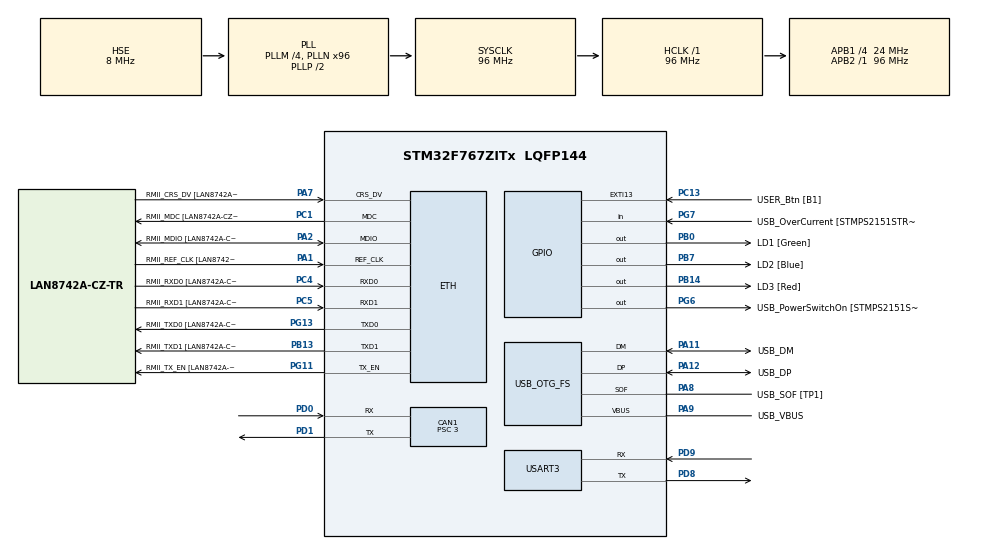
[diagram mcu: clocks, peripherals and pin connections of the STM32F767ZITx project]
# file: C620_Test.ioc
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CAN1.ABOM=ENABLE
CAN1.AWUM=DISABLE
CAN1.BS1=CAN_BS1_3TQ
CAN1.BS2=CAN_BS2_4TQ
CAN1.CalculateBaudRate=1000000
CAN1.CalculateTimeBit=1000
CAN1.CalculateTimeQuantum=125.0
CAN1.NART=DISABLE
CAN1.Prescaler=3
Dma.Request0=USART3_TX
Dma.USART3_TX.0.Direction=DMA_MEMORY_TO_PERIPH
Dma.USART3_TX.0.FIFOMode=DMA_FIFOMODE_DISABLE
Dma.USART3_TX.0.Instance=DMA1_Stream3
Dma.USART3_TX.0.MemDataAlignment=DMA_MDATAALIGN_BYTE
Dma.USART3_TX.0.MemInc=DMA_MINC_ENABLE
Dma.USART3_TX.0.Mode=DMA_CIRCULAR
Dma.USART3_TX.0.PeriphDataAlignment=DMA_PDATAALIGN_BYTE
Dma.USART3_TX.0.PeriphInc=DMA_PINC_DISABLE
Dma.USART3_TX.0.Priority=DMA_PRIORITY_LOW
ETH.MediaInterface=HAL_ETH_RMII_MODE
ETH.PHY_Name=LAN8742A_PHY_ADDRESS
ETH.PHY_Value=0
ETH.PhyAddress=0
FREERTOS.Tasks01=defaultTask,24,512,StartDefaultTask,Default,NULL,Static,defaultTaskBuffer,defaultTaskControlBlock
FREERTOS.Timers01=myTimer01,Callback01,osTimerPeriodic,Default,NULL,Static,myTimer01ControlBlock
Mcu.Family=STM32F7
Mcu.Name=STM32F767ZITx
Mcu.Package=LQFP144
NVIC.CAN1_RX0_IRQn=true\:5\:0\:false\:false\:true\:true\:true\:true\:true
NVIC.CAN1_RX1_IRQn=true\:5\:0\:false\:false\:true\:true\:true\:true\:true
NVIC.CAN1_TX_IRQn=true\:5\:0\:false\:false\:true\:true\:true\:true\:true
NVIC.DMA1_Stream3_IRQn=true\:5\:0\:false\:false\:true\:true\:false\:true\:true
NVIC.PriorityGroup=NVIC_PRIORITYGROUP_4
NVIC.USART3_IRQn=true\:5\:0\:false\:false\:true\:true\:true\:true\:true
PA1.GPIO_Label=RMII_REF_CLK [LAN8742A-CZ-TR_REFCLK0]
PA1.Mode=RMII
PA1.Signal=ETH_REF_CLK
PA10.GPIO_Label=USB_ID
PA10.Signal=USB_OTG_FS_ID
PA11.GPIO_Label=USB_DM
PA11.Mode=Device_Only
PA11.Signal=USB_OTG_FS_DM
PA12.GPIO_Label=USB_DP
PA12.Mode=Device_Only
PA12.Signal=USB_OTG_FS_DP
PA13.GPIO_Label=TMS
PA13.Mode=Serial_Wire
PA13.Signal=SYS_JTMS-SWDIO
PA14.GPIO_Label=TCK
PA14.Mode=Serial_Wire
PA14.Signal=SYS_JTCK-SWCLK
PA2.GPIO_Label=RMII_MDIO [LAN8742A-CZ-TR_MDIO]
PA2.Mode=RMII
PA2.Signal=ETH_MDIO
PA7.GPIO_Label=RMII_CRS_DV [LAN8742A-CZ-TR_CRS_DV]
PA7.Mode=RMII
PA7.Signal=ETH_CRS_DV
PA8.GPIO_Label=USB_SOF [TP1]
PA8.Mode=Activate_SOF_FS
PA8.Signal=USB_OTG_FS_SOF
PA9.GPIO_Label=USB_VBUS
PA9.Mode=Activate_VBUS
PA9.Signal=USB_OTG_FS_VBUS
PB0.GPIO_Label=LD1 [Green]
PB0.Signal=GPIO_Output
PB13.GPIO_Label=RMII_TXD1 [LAN8742A-CZ-TR_TXD1]
PB13.Mode=RMII
PB13.Signal=ETH_TXD1
PB14.GPIO_Label=LD3 [Red]
PB14.Signal=GPIO_Output
PB3.GPIO_Label=SWO
PB3.Signal=SYS_JTDO-SWO
PB7.GPIO_Label=LD2 [Blue]
PB7.Signal=GPIO_Output
PC1.GPIO_Label=RMII_MDC [LAN8742A-CZ-TR_MDC]
PC1.Mode=RMII
PC1.Signal=ETH_MDC
PC13.GPIO_Label=USER_Btn [B1]
PC13.Signal=GPXTI13
PC14/OSC32_IN.Mode=LSE-External-Oscillator
PC14/OSC32_IN.Signal=RCC_OSC32_IN
PC15/OSC32_OUT.Mode=LSE-External-Oscillator
PC15/OSC32_OUT.Signal=RCC_OSC32_OUT
PC4.GPIO_Label=RMII_RXD0 [LAN8742A-CZ-TR_RXD0]
PC4.Mode=RMII
PC4.Signal=ETH_RXD0
PC5.GPIO_Label=RMII_RXD1 [LAN8742A-CZ-TR_RXD1]
PC5.Mode=RMII
PC5.Signal=ETH_RXD1
PD0.GPIO_PuPd=GPIO_NOPULL
PD0.GPIO_Speed=GPIO_SPEED_FREQ_VERY_HIGH
PD0.Mode=CAN_Activate
PD0.Signal=CAN1_RX
PD1.GPIO_PuPd=GPIO_NOPULL
PD1.Mode=CAN_Activate
PD1.Signal=CAN1_TX
PD8.GPIO_ModeDefaultPP=GPIO_MODE_AF_PP
PD8.GPIO_PuPd=GPIO_NOPULL
PD8.GPIO_Speed=GPIO_SPEED_FREQ_VERY_HIGH
PD8.Mode=Asynchronous
PD8.Signal=USART3_TX
PD9.GPIO_ModeDefaultPP=GPIO_MODE_AF_PP
PD9.GPIO_PuPd=GPIO_NOPULL
PD9.GPIO_Speed=GPIO_SPEED_FREQ_VERY_HIGH
PD9.Mode=Asynchronous
PD9.Signal=USART3_RX
PG11.GPIO_Label=RMII_TX_EN [LAN8742A-CZ-TR_TXEN]
PG11.Mode=RMII
PG11.Signal=ETH_TX_EN
PG13.GPIO_Label=RMII_TXD0 [LAN8742A-CZ-TR_TXD0]
PG13.Mode=RMII
PG13.Signal=ETH_TXD0
PG6.GPIO_Label=USB_PowerSwitchOn [STMPS2151STR_EN]
PG6.Signal=GPIO_Output
PG7.GPIO_Label=USB_OverCurrent [STMPS2151STR_FAULT]
PG7.Signal=GPIO_Input
PH0/OSC_IN.GPIO_Label=MCO [STM32F103CBT6_PA8]
PH0/OSC_IN.Mode=HSE-External-Clock-Source
PH0/OSC_IN.Signal=RCC_OSC_IN
PH1/OSC_OUT.Mode=HSE-External-Clock-Source
PH1/OSC_OUT.Signal=RCC_OSC_OUT
ProjectManager.HeapSize=0x200
ProjectManager.StackSize=0x400
ProjectManager.TargetToolchain=STM32CubeIDE
RCC.48MHZClocksFreq_Value=24000000
RCC.AHBFreq_Value=96000000
RCC.APB1CLKDivider=RCC_HCLK_DIV4
RCC.APB1Freq_Value=24000000
RCC.APB1TimFreq_Value=48000000
RCC.APB2Freq_Value=96000000
RCC.APB2TimFreq_Value=96000000
RCC.CortexFreq_Value=96000000
RCC.HCLKFreq_Value=96000000
RCC.HSE_VALUE=8000000
RCC.HSI_VALUE=16000000
RCC.PLLM=4
RCC.PLLMUL=RCC_PLL_MUL9
RCC.PLLN=96
RCC.PLLQ=4
RCC.PRESCALERUSB=RCC_USBCLKSOURCE_PLL_DIV1_5
RCC.SYSCLKFreq_VALUE=96000000
RCC.SYSCLKSource=RCC_SYSCLKSOURCE_PLLCLK
RCC.SYSCLKSourceVirtual=RCC_SYSCLKSOURCE_PLLCLK
RCC.USBFreq_Value=48000000
RCC.VCOOutputFreq_Value=192000000
USART3.VirtualMode-Asynchronous=VM_ASYNC
USB_OTG_FS.VirtualMode=Device_Only
VP_FREERTOS_VS_CMSIS_V2.Mode=CMSIS_V2
board=NUCLEO-F767ZI

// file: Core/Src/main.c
/* USER CODE BEGIN Header */
/**
  ******************************************************************************
  * @file           : main.c
  * @brief          : Main program body
  ******************************************************************************
  * @attention
  *
  * Copyright (c) 2023 STMicroelectronics.
  * All rights reserved.
  *
  * This software is licensed under terms that can be found in the LICENSE file
  * in the root directory of this software component.
  * If no LICENSE file comes with this software, it is provided AS-IS.
  *
  ******************************************************************************
  */
/* USER CODE END Header */
#include "main.h"
#include "string.h"
#include "cmsis_os.h"

/* USER CODE BEGIN Includes */
#include <stdio.h>
#include "CAN_C620_System.h"
#include "CAN_C620.h"

/* USER CODE END Includes */

typedef StaticTask_t osStaticThreadDef_t;
typedef StaticTimer_t osStaticTimerDef_t;

#if defined ( __ICCARM__ ) /*!< IAR Compiler */
#pragma location=0x2007c000
ETH_DMADescTypeDef  DMARxDscrTab[ETH_RX_DESC_CNT]; /* Ethernet Rx DMA Descriptors */
#pragma location=0x2007c0a0
ETH_DMADescTypeDef  DMATxDscrTab[ETH_TX_DESC_CNT]; /* Ethernet Tx DMA Descriptors */

#elif defined ( __CC_ARM )  /* MDK ARM Compiler */

__attribute__((at(0x2007c000))) ETH_DMADescTypeDef  DMARxDscrTab[ETH_RX_DESC_CNT]; /* Ethernet Rx DMA Descriptors */
__attribute__((at(0x2007c0a0))) ETH_DMADescTypeDef  DMATxDscrTab[ETH_TX_DESC_CNT]; /* Ethernet Tx DMA Descriptors */

#elif defined ( __GNUC__ ) /* GNU Compiler */
ETH_DMADescTypeDef DMARxDscrTab[ETH_RX_DESC_CNT] __attribute__((section(".RxDecripSection"))); /* Ethernet Rx DMA Descriptors */
ETH_DMADescTypeDef DMATxDscrTab[ETH_TX_DESC_CNT] __attribute__((section(".TxDecripSection")));   /* Ethernet Tx DMA Descriptors */

#endif

ETH_TxPacketConfig TxConfig;

CAN_HandleTypeDef hcan1;

ETH_HandleTypeDef heth;

UART_HandleTypeDef huart3;
DMA_HandleTypeDef hdma_usart3_tx;

PCD_HandleTypeDef hpcd_USB_OTG_FS;

/* Definitions for defaultTask */
osThreadId_t defaultTaskHandle;
uint32_t defaultTaskBuffer[ 512 ];
osStaticThreadDef_t defaultTaskControlBlock;
const osThreadAttr_t defaultTask_attributes = {
  .name = "defaultTask",
  .cb_mem = &defaultTaskControlBlock,
  .cb_size = sizeof(defaultTaskControlBlock),
  .stack_mem = &defaultTaskBuffer[0],
  .stack_size = sizeof(defaultTaskBuffer),
  .priority = (osPriority_t) osPriorityNormal,
};
/* Definitions for myTimer01 */
osTimerId_t myTimer01Handle;
osStaticTimerDef_t myTimer01ControlBlock;
const osTimerAttr_t myTimer01_attributes = {
  .name = "myTimer01",
  .cb_mem = &myTimer01ControlBlock,
  .cb_size = sizeof(myTimer01ControlBlock),
};
/* USER CODE BEGIN PV */
C620_DeviceInfo c620_dev_info_global[8];
/* USER CODE END PV */

void SystemClock_Config(void);
static void MX_GPIO_Init(void);
static void MX_DMA_Init(void);
static void MX_CAN1_Init(void);
static void MX_ETH_Init(void);
static void MX_USART3_UART_Init(void);
static void MX_USB_OTG_FS_PCD_Init(void);
void StartDefaultTask(void *argument);
void Callback01(void *argument);

/* USER CODE BEGIN 0 */
#ifdef __GNUC__
#define PUTCHAR_PROTOTYPE int __io_putchar(uint8_t ch)
#else
#define PUTCHAR_PROTOTYPE int fputc(int ch, FILE *f)
#endif /* __GNUC__ */

PUTCHAR_PROTOTYPE {
    HAL_UART_Transmit(&huart3, &ch, 1, 500);
    return ch;
}

void HAL_CAN_TxMailbox0CompleteCallback(CAN_HandleTypeDef *hcan){
    C620_WhenTxMailboxCompleteCallbackCalled(hcan);
}

void HAL_CAN_TxMailbox0AbortCallback(CAN_HandleTypeDef *hcan){
    C620_WhenTxMailboxAbortCallbackCalled(hcan);
}

void HAL_CAN_TxMailbox1CompleteCallback(CAN_HandleTypeDef *hcan){
    C620_WhenTxMailboxCompleteCallbackCalled(hcan);
}

void HAL_CAN_TxMailbox1AbortCallback(CAN_HandleTypeDef *hcan){
    C620_WhenTxMailboxAbortCallbackCalled(hcan);
}

void HAL_CAN_TxMailbox2CompleteCallback(CAN_HandleTypeDef *hcan){
    C620_WhenTxMailboxCompleteCallbackCalled(hcan);
}

void HAL_CAN_TxMailbox2AbortCallback(CAN_HandleTypeDef *hcan){
    C620_WhenTxMailboxAbortCallbackCalled(hcan);
}

void HAL_CAN_RxFifo1MsgPendingCallback(CAN_HandleTypeDef *hcan){
    C620_WhenCANRxFifo1MsgPending(hcan);
}

/* USER CODE END 0 */

int main(void)
{

  /* MCU Configuration--------------------------------------------------------*/

  /* Reset of all peripherals, Initializes the Flash interface and the Systick. */
  HAL_Init();

  /* Configure the system clock */
  SystemClock_Config();

  /* Initialize all configured peripherals */
  MX_GPIO_Init();
  MX_DMA_Init();
  MX_CAN1_Init();
  MX_ETH_Init();
  MX_USART3_UART_Init();
  MX_USB_OTG_FS_PCD_Init();
  /* USER CODE BEGIN 2 */

  // C620 Setting
  Init_C620_CAN_System(&hcan1);  // Init CAN System for C620
  C620_Init(c620_dev_info_global, 8);

  for(int i=0; i<1; i++) {
      c620_dev_info_global[i].device_id = i+1;  // 1スタートな事に注意
      c620_dev_info_global[i].ctrl_param.accel_limit = C620_ACCEL_LIMIT_ENABLE;
      c620_dev_info_global[i].ctrl_param.use_internal_offset = C620_USE_OFFSET_POS_ENABLE;
      c620_dev_info_global[i].ctrl_param.accel_limit_size = 3.0f;
      c620_dev_info_global[i].ctrl_param.ctrl_type = C620_CTRL_VEL;
      c620_dev_info_global[i].ctrl_param.pid.kp = 0.4f;
      c620_dev_info_global[i].ctrl_param.pid.ki = 0.08f;
      c620_dev_info_global[i].ctrl_param.pid.kd = 0.0f;
      c620_dev_info_global[i].ctrl_param.pid.kff = 0.0f;
  }

  HAL_Delay(100);
  for(int i=0; i<1; i++)C620_SetTarget(&c620_dev_info_global[i], 3.141592f * 1.0f);  // MAX: 20.0
  HAL_Delay(100);

  C620_WaitForConnect(c620_dev_info_global, 1);
  for(int i=0; i<1; i++)C620_ControlEnable(&(c620_dev_info_global[i]));

  /* USER CODE END 2 */

  /* Init scheduler */
  osKernelInitialize();

  /* Create the timer(s) */
  /* creation of myTimer01 */
  myTimer01Handle = osTimerNew(Callback01, osTimerPeriodic, NULL, &myTimer01_attributes);

  /* USER CODE BEGIN RTOS_TIMERS */
  /* start timers, add new ones, ... */
  osTimerStart(myTimer01Handle, 1);
  /* USER CODE END RTOS_TIMERS */

  /* Create the thread(s) */
  /* creation of defaultTask */
  defaultTaskHandle = osThreadNew(StartDefaultTask, NULL, &defaultTask_attributes);

  /* Start scheduler */
  osKernelStart();

  /* We should never get here as control is now taken by the scheduler */
  /* Infinite loop */
  while (1)
  {

  }
}

void SystemClock_Config(void)
{
  RCC_OscInitTypeDef RCC_OscInitStruct = {0};
  RCC_ClkInitTypeDef RCC_ClkInitStruct = {0};

  /** Configure LSE Drive Capability
  */
  HAL_PWR_EnableBkUpAccess();

  /** Configure the main internal regulator output voltage
  */
  __HAL_RCC_PWR_CLK_ENABLE();
  __HAL_PWR_VOLTAGESCALING_CONFIG(PWR_REGULATOR_VOLTAGE_SCALE3);

  /** Initializes the RCC Oscillators according to the specified parameters
  * in the RCC_OscInitTypeDef structure.
  */
  RCC_OscInitStruct.OscillatorType = RCC_OSCILLATORTYPE_HSE;
  RCC_OscInitStruct.HSEState = RCC_HSE_BYPASS;
  RCC_OscInitStruct.PLL.PLLState = RCC_PLL_ON;
  RCC_OscInitStruct.PLL.PLLSource = RCC_PLLSOURCE_HSE;
  RCC_OscInitStruct.PLL.PLLM = 4;
  RCC_OscInitStruct.PLL.PLLN = 96;
  RCC_OscInitStruct.PLL.PLLP = RCC_PLLP_DIV2;
  RCC_OscInitStruct.PLL.PLLQ = 4;
  RCC_OscInitStruct.PLL.PLLR = 2;
  if (HAL_RCC_OscConfig(&RCC_OscInitStruct) != HAL_OK)
  {
    Error_Handler();
  }

  /** Activate the Over-Drive mode
  */
  if (HAL_PWREx_EnableOverDrive() != HAL_OK)
  {
    Error_Handler();
  }

  /** Initializes the CPU, AHB and APB buses clocks
  */
  RCC_ClkInitStruct.ClockType = RCC_CLOCKTYPE_HCLK|RCC_CLOCKTYPE_SYSCLK
                              |RCC_CLOCKTYPE_PCLK1|RCC_CLOCKTYPE_PCLK2;
  RCC_ClkInitStruct.SYSCLKSource = RCC_SYSCLKSOURCE_PLLCLK;
  RCC_ClkInitStruct.AHBCLKDivider = RCC_SYSCLK_DIV1;
  RCC_ClkInitStruct.APB1CLKDivider = RCC_HCLK_DIV4;
  RCC_ClkInitStruct.APB2CLKDivider = RCC_HCLK_DIV1;

  if (HAL_RCC_ClockConfig(&RCC_ClkInitStruct, FLASH_LATENCY_3) != HAL_OK)
  {
    Error_Handler();
  }
}

static void MX_CAN1_Init(void)
{

  hcan1.Instance = CAN1;
  hcan1.Init.Prescaler = 3;
  hcan1.Init.Mode = CAN_MODE_NORMAL;
  hcan1.Init.SyncJumpWidth = CAN_SJW_1TQ;
  hcan1.Init.TimeSeg1 = CAN_BS1_3TQ;
  hcan1.Init.TimeSeg2 = CAN_BS2_4TQ;
  hcan1.Init.TimeTriggeredMode = DISABLE;
  hcan1.Init.AutoBusOff = ENABLE;
  hcan1.Init.AutoWakeUp = DISABLE;
  hcan1.Init.AutoRetransmission = DISABLE;
  hcan1.Init.ReceiveFifoLocked = DISABLE;
  hcan1.Init.TransmitFifoPriority = DISABLE;
  if (HAL_CAN_Init(&hcan1) != HAL_OK)
  {
    Error_Handler();
  }

}

static void MX_ETH_Init(void)
{

   static uint8_t MACAddr[6];

  heth.Instance = ETH;
  MACAddr[0] = 0x00;
  MACAddr[1] = 0x80;
  MACAddr[2] = 0xE1;
  MACAddr[3] = 0x00;
  MACAddr[4] = 0x00;
  MACAddr[5] = 0x00;
  heth.Init.MACAddr = &MACAddr[0];
  heth.Init.MediaInterface = HAL_ETH_RMII_MODE;
  heth.Init.TxDesc = DMATxDscrTab;
  heth.Init.RxDesc = DMARxDscrTab;
  heth.Init.RxBuffLen = 1524;

  if (HAL_ETH_Init(&heth) != HAL_OK)
  {
    Error_Handler();
  }

  memset(&TxConfig, 0 , sizeof(ETH_TxPacketConfig));
  TxConfig.Attributes = ETH_TX_PACKETS_FEATURES_CSUM | ETH_TX_PACKETS_FEATURES_CRCPAD;
  TxConfig.ChecksumCtrl = ETH_CHECKSUM_IPHDR_PAYLOAD_INSERT_PHDR_CALC;
  TxConfig.CRCPadCtrl = ETH_CRC_PAD_INSERT;

}

static void MX_USART3_UART_Init(void)
{

  huart3.Instance = USART3;
  huart3.Init.BaudRate = 115200;
  huart3.Init.WordLength = UART_WORDLENGTH_8B;
  huart3.Init.StopBits = UART_STOPBITS_1;
  huart3.Init.Parity = UART_PARITY_NONE;
  huart3.Init.Mode = UART_MODE_TX_RX;
  huart3.Init.HwFlowCtl = UART_HWCONTROL_NONE;
  huart3.Init.OverSampling = UART_OVERSAMPLING_16;
  huart3.Init.OneBitSampling = UART_ONE_BIT_SAMPLE_DISABLE;
  huart3.AdvancedInit.AdvFeatureInit = UART_ADVFEATURE_NO_INIT;
  if (HAL_UART_Init(&huart3) != HAL_OK)
  {
    Error_Handler();
  }

}

static void MX_USB_OTG_FS_PCD_Init(void)
{

  hpcd_USB_OTG_FS.Instance = USB_OTG_FS;
  hpcd_USB_OTG_FS.Init.dev_endpoints = 6;
  hpcd_USB_OTG_FS.Init.speed = PCD_SPEED_FULL;
  hpcd_USB_OTG_FS.Init.dma_enable = DISABLE;
  hpcd_USB_OTG_FS.Init.phy_itface = PCD_PHY_EMBEDDED;
  hpcd_USB_OTG_FS.Init.Sof_enable = ENABLE;
  hpcd_USB_OTG_FS.Init.low_power_enable = DISABLE;
  hpcd_USB_OTG_FS.Init.lpm_enable = DISABLE;
  hpcd_USB_OTG_FS.Init.vbus_sensing_enable = ENABLE;
  hpcd_USB_OTG_FS.Init.use_dedicated_ep1 = DISABLE;
  if (HAL_PCD_Init(&hpcd_USB_OTG_FS) != HAL_OK)
  {
    Error_Handler();
  }

}

static void MX_DMA_Init(void)
{

  /* DMA controller clock enable */
  __HAL_RCC_DMA1_CLK_ENABLE();

  /* DMA interrupt init */
  /* DMA1_Stream3_IRQn interrupt configuration */
  HAL_NVIC_SetPriority(DMA1_Stream3_IRQn, 5, 0);
  HAL_NVIC_EnableIRQ(DMA1_Stream3_IRQn);

}

static void MX_GPIO_Init(void)
{
  GPIO_InitTypeDef GPIO_InitStruct = {0};

  /* GPIO Ports Clock Enable */
  __HAL_RCC_GPIOC_CLK_ENABLE();
  __HAL_RCC_GPIOH_CLK_ENABLE();
  __HAL_RCC_GPIOA_CLK_ENABLE();
  __HAL_RCC_GPIOB_CLK_ENABLE();
  __HAL_RCC_GPIOD_CLK_ENABLE();
  __HAL_RCC_GPIOG_CLK_ENABLE();

  /*Configure GPIO pin Output Level */
  HAL_GPIO_WritePin(GPIOB, LD1_Pin|LD3_Pin|LD2_Pin, GPIO_PIN_RESET);

  /*Configure GPIO pin Output Level */
  HAL_GPIO_WritePin(USB_PowerSwitchOn_GPIO_Port, USB_PowerSwitchOn_Pin, GPIO_PIN_RESET);

  /*Configure GPIO pin : USER_Btn_Pin */
  GPIO_InitStruct.Pin = USER_Btn_Pin;
  GPIO_InitStruct.Mode = GPIO_MODE_IT_RISING;
  GPIO_InitStruct.Pull = GPIO_NOPULL;
  HAL_GPIO_Init(USER_Btn_GPIO_Port, &GPIO_InitStruct);

  /*Configure GPIO pins : LD1_Pin LD3_Pin LD2_Pin */
  GPIO_InitStruct.Pin = LD1_Pin|LD3_Pin|LD2_Pin;
  GPIO_InitStruct.Mode = GPIO_MODE_OUTPUT_PP;
  GPIO_InitStruct.Pull = GPIO_NOPULL;
  GPIO_InitStruct.Speed = GPIO_SPEED_FREQ_LOW;
  HAL_GPIO_Init(GPIOB, &GPIO_InitStruct);

  /*Configure GPIO pin : USB_PowerSwitchOn_Pin */
  GPIO_InitStruct.Pin = USB_PowerSwitchOn_Pin;
  GPIO_InitStruct.Mode = GPIO_MODE_OUTPUT_PP;
  GPIO_InitStruct.Pull = GPIO_NOPULL;
  GPIO_InitStruct.Speed = GPIO_SPEED_FREQ_LOW;
  HAL_GPIO_Init(USB_PowerSwitchOn_GPIO_Port, &GPIO_InitStruct);

  /*Configure GPIO pin : USB_OverCurrent_Pin */
  GPIO_InitStruct.Pin = USB_OverCurrent_Pin;
  GPIO_InitStruct.Mode = GPIO_MODE_INPUT;
  GPIO_InitStruct.Pull = GPIO_NOPULL;
  HAL_GPIO_Init(USB_OverCurrent_GPIO_Port, &GPIO_InitStruct);

}

void StartDefaultTask(void *argument)
{
  /* USER CODE BEGIN 5 */
  /* Infinite loop */
    for(;;){
        C620_FeedbackData fb = Get_C620_FeedbackData(&c620_dev_info_global[0]);
        printf("cur, pos, vel: %f, %f, %f\n", fb.current, fb.position, fb.velocity);
        osDelay(400);
    }
  /* USER CODE END 5 */
}

/* Callback01 function */
void Callback01(void *argument)
{
  /* USER CODE BEGIN Callback01 */
    C620_SendRequest(c620_dev_info_global, 1, 1000.0f, &hcan1);
  /* USER CODE END Callback01 */
}

void Error_Handler(void)
{
  __disable_irq();
  while (1)
  {
  }
}
